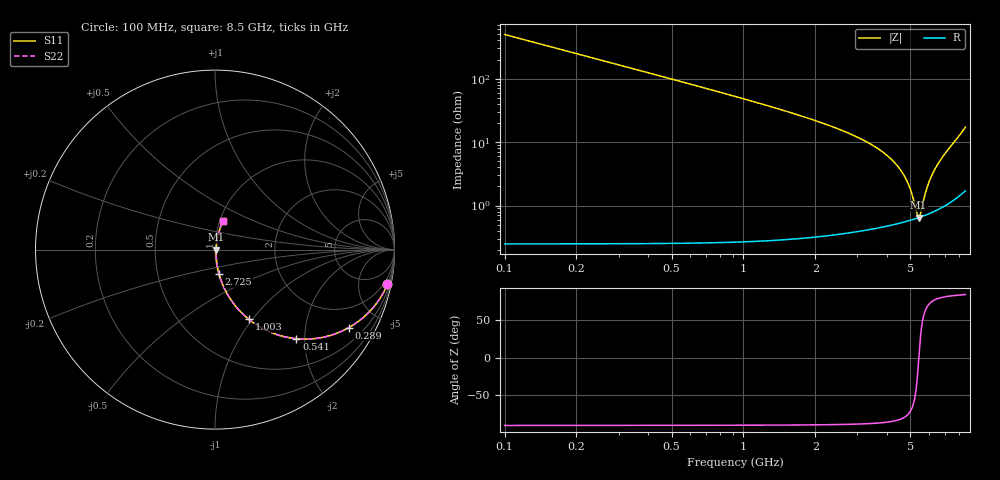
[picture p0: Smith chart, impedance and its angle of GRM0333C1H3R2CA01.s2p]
!Murata Part Number: GRM0333C1H3R2CA01
!These Parameters are Measured in Series Mode Connection
!Data Generated on Mar 30, 2021
!  o--ll--o
!Port1  Port2
!  o------o
!Operation Temp=25[degC], DC Bias Voltage=0[V]
!Freq. Start=100[MHz] Stop=9[GHz] 401[Steps]
# Hz S RI R 50
!Freq.(Hz) S11(Real) S11(Imag) S21(Real) S21(Imag) S12(Real) S12(Imag) S22(Real) S22(Imag)
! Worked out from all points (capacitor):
!   401 points, 100 MHz to 8.5 GHz, reference 50 ohm
!   read as one part in series: C = 3.2 pF near 142 MHz
!   lowest |Z| = 646 mohm at 5.413 GHz (marker M1)
!   series resonance near 5.425 GHz, so ESL is about 270 pH
!   S11 on the Smith chart (normalised r, x): 100 MHz: 1.00, -9.94; 289 MHz: 1.00, -3.43; 541 MHz: 1.01, -1.82; 1.003 GHz: 1.01, -0.96; 2.725 GHz: 1.01, -0.28; 8.5 GHz: 1.03, +0.34
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1e8  0.961 -0.1933  0.039 0.1933  0.039 0.1933  0.961 -0.1933
2.05e8  0.8542 -0.3524  0.1458 0.3524  0.1458 0.3524  0.8542 -0.3524
2.89e8  0.7463 -0.4344  0.2537 0.4344  0.2537 0.4344  0.7463 -0.4344
3.94e8  0.612 -0.4863  0.388 0.4863  0.388 0.4863  0.612 -0.4863
5.41e8  0.4538 -0.4965  0.5462 0.4965  0.5462 0.4965  0.4538 -0.4965
7.51e8  0.2984 -0.4556  0.7016 0.4556  0.7016 0.4556  0.2984 -0.4556
1.003e9  0.1891 -0.3888  0.8109 0.3888  0.8109 0.3888  0.1891 -0.3888
1.507e9  0.0885 -0.2793  0.9115 0.2793  0.9115 0.2793  0.0885 -0.2793
2.725e9  0.0229 -0.1371  0.9771 0.1371  0.9771 0.1371  0.0229 -0.1371
2.914e9  0.0193 -0.1231  0.9807 0.1231  0.9807 0.1231  0.0193 -0.1231
3.733e9  0.00997 -0.0738  0.99 0.0738  0.99 0.0738  0.00997 -0.0738
4.3e9  0.0072 -0.0465  0.9928 0.0465  0.9928 0.0465  0.0072 -0.0465
4.888e9  0.00615 -0.0214  0.9939 0.0214  0.9939 0.0214  0.00615 -0.0214
5.098e9  0.00613 -0.0129  0.9939 0.0129  0.9939 0.0129  0.00613 -0.0129
5.329e9  0.0063 -0.00376  0.9937 0.00376  0.9937 0.00376  0.0063 -0.00376
5.413e9  0.00641 -0.000455  0.9936 0.000455  0.9936 0.000455  0.00641 -0.000455
5.497e9  0.00654 0.00284  0.9935 -0.00284  0.9935 -0.00284  0.00654 0.00284
5.707e9  0.007 0.011  0.993 -0.011  0.993 -0.011  0.007 0.011
5.938e9  0.0077 0.0201  0.9923 -0.0201  0.9923 -0.0201  0.0077 0.0201
6.232e9  0.0089 0.0318  0.9911 -0.0318  0.9911 -0.0318  0.0089 0.0318
7.114e9  0.0152 0.0698  0.9848 -0.0698  0.9848 -0.0698  0.0152 0.0698
8.5e9  0.0439 0.1612  0.9561 -0.1612  0.9561 -0.1612  0.0439 0.1612
